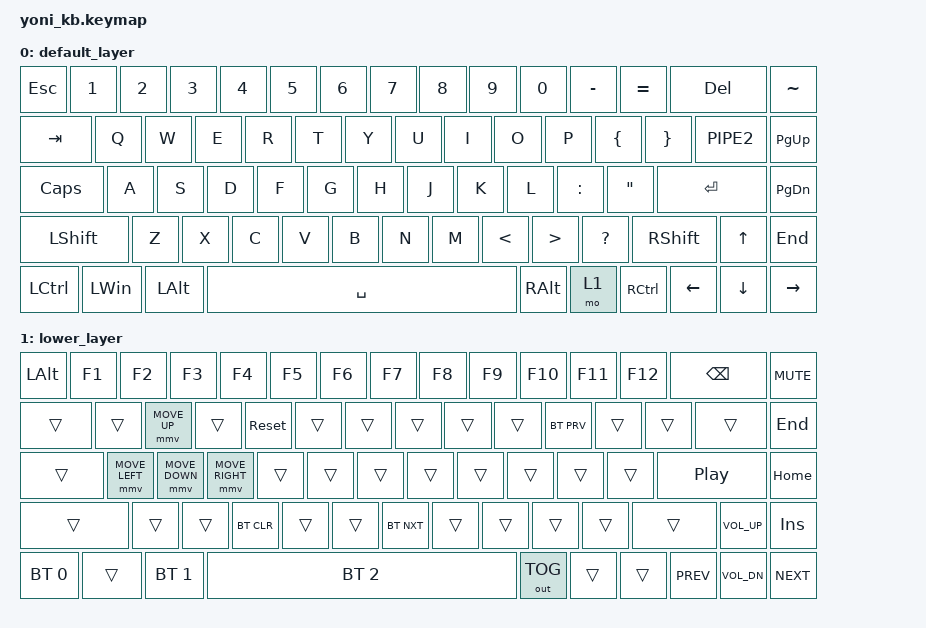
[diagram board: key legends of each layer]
#include <behaviors.dtsi>
#include <dt-bindings/zmk/keys.h>
#include <dt-bindings/zmk/bt.h>
#include <dt-bindings/zmk/pointing.h>
#include <dt-bindings/zmk/outputs.h>

#define DEFAULT 0
#define LOWER   1

/ {
    keymap {
        compatible = "zmk,keymap";

        default_layer {
            bindings = <
                &kp ESC &kp N1 &kp N2 &kp N3 &kp N4 &kp N5 &kp N6 &kp N7 &kp N8 &kp N9 &kp N0 &kp MINUS &kp EQUAL &kp DEL &kp TILDE
                &kp TAB &kp Q &kp W &kp E &kp R &kp T &kp Y &kp U &kp I &kp O &kp P &kp LBRC &kp RBRC &kp PIPE2 &kp PG_UP
                &kp CAPS &kp A &kp S &kp D &kp F &kp G &kp H &kp J &kp K &kp L &kp COLON &kp DQT &kp ENTER &kp PG_DN
                &kp LSHFT &kp Z &kp X &kp C &kp V &kp B &kp N &kp M &kp LT &kp GT &kp QMARK &kp RSHFT &kp UP &kp END
                &kp LCTRL &kp LWIN &kp LALT &kp SPACE &kp RALT &mo 1 &kp RCTRL &kp LEFT &kp DOWN &kp RIGHT
            >;
        };
        lower_layer {
            bindings = <
                &kp LALT &kp F1 &kp F2 &kp F3 &kp F4 &kp F5 &kp F6 &kp F7 &kp F8 &kp F9 &kp F10 &kp F11 &kp F12 &kp BSPC &kp C_MUTE
                &trans &trans &mmv MOVE_UP &trans &sys_reset &trans &trans &trans &trans &trans &bt BT_PRV &trans &trans &trans &kp END
                &trans &mmv MOVE_LEFT &mmv MOVE_DOWN &mmv MOVE_RIGHT &trans &trans &trans &trans &trans &trans &trans &trans &kp C_PP &kp HOME
                &trans &trans &trans &bt BT_CLR &trans &trans &bt BT_NXT &trans &trans &trans &trans &trans &kp C_VOL_UP &kp INS
                &bt BT_SEL 0 &trans &bt BT_SEL 1 &bt BT_SEL 2 &out OUT_TOG &trans &trans &kp C_PREV &kp C_VOL_DN &kp C_NEXT
            >;
       };
   };
};
